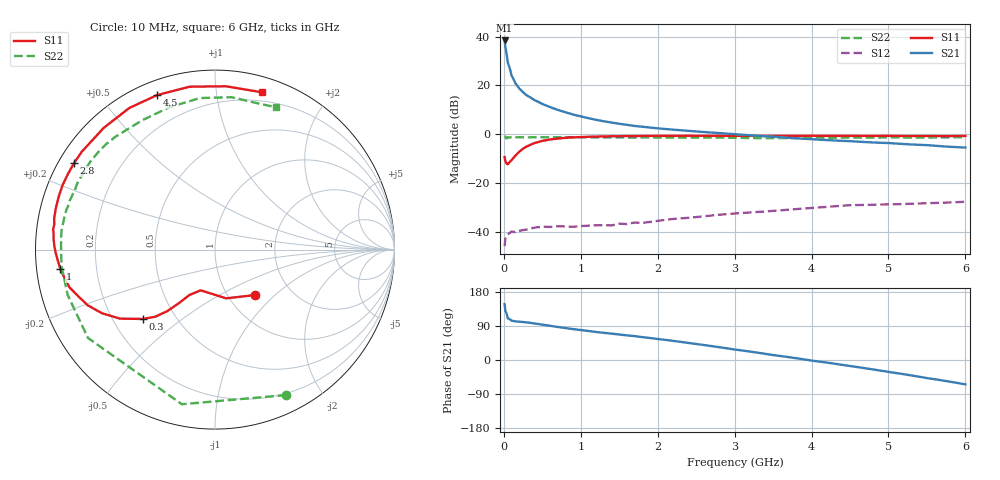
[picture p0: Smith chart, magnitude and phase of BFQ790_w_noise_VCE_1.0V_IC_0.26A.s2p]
! Infineon Technologies  Discrete & RF Semiconductors
! BFQ790
! VCE =  1.0 V,  IC = 0.26 A
! Common Emitter S-Parameters:  May 2015
# GHz  S  MA  R  50
!  f  S11  S21  S12  S22
! GHz  MAG  ANG  MAG  ANG  MAG  ANG  MAG  ANG
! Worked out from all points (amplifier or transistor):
!   77 points, 10 MHz to 6 GHz, reference 50 ohm
!   highest |S21| = 38.4 dB at 10 MHz (marker M1)
!   |S21| within 3 dB of that: start of sweep to 21.48 MHz
!   unconditionally stable (mu >= 1): 175.9 MHz to end of sweep
!   at 130 MHz: K = 0.81, MSG = 31.2 dB, |S12| = -40.2 dB
!   at 2.2 GHz: K = 1.35, MAG = 14.8 dB, |S12| = -34.8 dB
!   at 6 GHz: K = 1.16, MAG = 8.7 dB, |S12| = -27.8 dB
!   lowest NFmin = 3.78 dB at 1.5 GHz
!   S11 on the Smith chart (normalised r, x): 10 MHz: 1.32, -0.76; 300 MHz: 0.33, -0.36; 1 GHz: 0.07, -0.06; 2.8 GHz: 0.04, +0.28; 4.5 GHz: 0.06, +0.69; 6 GHz: 0.12, +1.33
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0.01  0.3368 -48.8  83.31 147.7  0.005 54.4  0.9024 -63.9
0.02  0.2786 -77.1  60.7 129.0  0.0072 38.1  0.8812 -102.1
0.05  0.2405 -109.4  29.8 110.0  0.0086 17.3  0.8622 -145.2
0.1  0.2903 -119.4  15.86 103.7  0.01 14.1  0.8589 -162.9
0.15  0.36 -124.0  11.03 102.0  0.0097 17.4  0.8562 -170.1
0.2  0.4341 -127.8  8.636 101.2  0.0103 17.1  0.8599 -173.8
0.25  0.5014 -131.7  7.196 100.2  0.0107 16.5  0.858 -176.4
0.3  0.558 -136.2  6.199 99.2  0.011 12.4  0.8575 -178.6
0.4  0.6546 -144.0  4.963 96.3  0.012 14.6  0.8582 178.3
0.5  0.7226 -150.6  4.149 93.3  0.0126 10.8  0.8595 175.9
0.6  0.7743 -156.4  3.579 90.3  0.0124 12.7  0.8614 173.6
0.8  0.8378 -165.5  2.803 84.4  0.0127 10.7  0.859 170.1
1  0.8686 -172.8  2.308 79.1  0.0129 13.7  0.8583 166.8
1.1  0.8782 -176.1  2.116 76.6  0.0132 12.9  0.8571 165.2
1.5  0.9027 174.7  1.625 67.3  0.0145 16.1  0.8514 159.7
2.1  0.9172 163.5  1.269 53.1  0.0173 17.6  0.8492 150.6
2.8  0.9213 148.4  1.047 33.7  0.0221 10.6  0.8449 136.0
3.1  0.9178 141.5  0.968 25.0  0.024 6.9  0.8333 129.1
4.1  0.9191 119.1  0.767 -4.2  0.0312 -9.2  0.833 105.3
4.5  0.9192 110.5  0.715 -15.9  0.0347 -16.6  0.8485 95.7
5.1  0.9136 96.4  0.638 -34.4  0.0363 -30.4  0.851 81.7
6  0.9145 73.4  0.528 -64.3  0.0408 -52.3  0.8628 66.7
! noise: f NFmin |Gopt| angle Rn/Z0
0.45  6.29  0.51  143  0.62
0.9  4.4  0.63  169  0.19
1.5  3.78  0.73  -172  0.1
1.8  3.82  0.74  -166  0.12
2.6  4.01  0.76  -151  0.32
3.5  4.47  0.84  -134  0.73
